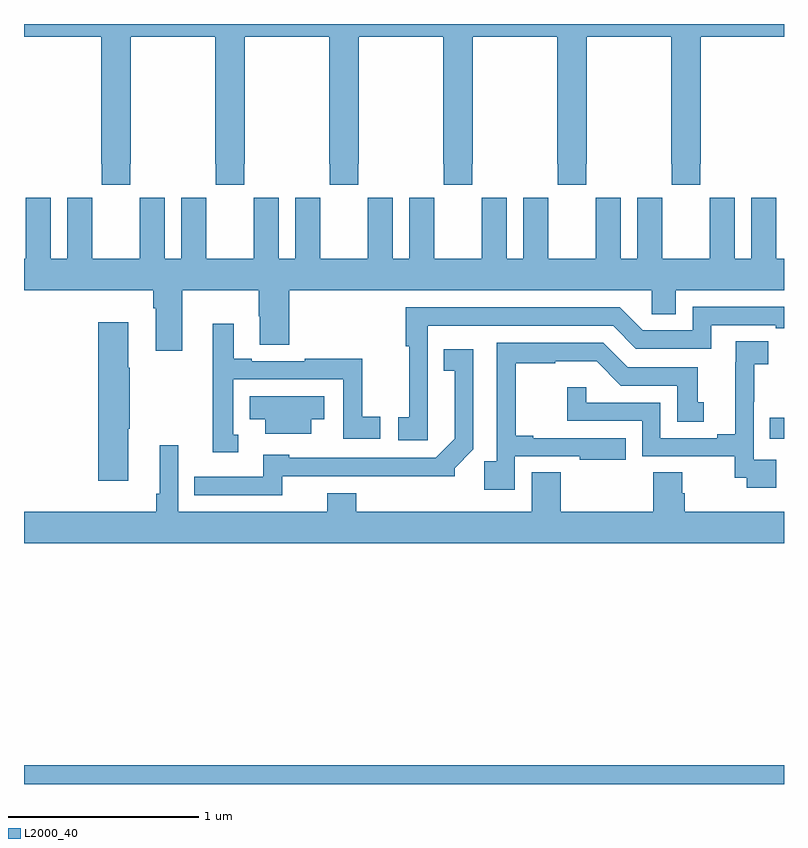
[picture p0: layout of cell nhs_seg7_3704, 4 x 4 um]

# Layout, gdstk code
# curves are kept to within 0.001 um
import gdstk
lib = gdstk.Library(unit=1e-6, precision=1e-09)
def R(c, l, rs):  # rectangles x0, y0, x1, y1
    for r in rs: c.add(gdstk.rectangle(r[:2], r[2:], *l))
def P(c, l, *ps):  # polygons
    for p in ps: c.add(gdstk.Polygon(p, *l))
L2000_40 = (2000, 40)

nhs_seg7_3704 = lib.new_cell('nhs_seg7_3704')
R(nhs_seg7_3704, L2000_40, [(347,1014,351,1014.1), (350.926,1015.818,351,1015.927)])
P(nhs_seg7_3704, L2000_40, [(347.559,1017.265),(347.562,1017.265),(347.562,1017.932),(348.007,1017.932),(348.007,1017.265),(348.009,1017.265),(348.009,1017.153),(348.159,1017.153),(348.159,1017.265),(348.162,1017.265),(348.162,1017.932),(348.607,1017.932),(348.607,1017.265),(348.609,1017.265),(348.609,1017.153),(348.759,1017.153),(348.759,1017.265),(348.762,1017.265),(348.762,1017.932),(349.207,1017.932),(349.207,1017.265),(349.209,1017.265),(349.209,1017.153),(349.359,1017.153),(349.359,1017.265),(349.362,1017.265),(349.362,1017.932),(349.807,1017.932),(349.807,1017.265),(349.809,1017.265),(349.809,1017.153),(349.959,1017.153),(349.959,1017.265),(349.962,1017.265),(349.962,1017.932),(350.407,1017.932),(350.407,1017.265),(350.409,1017.265),(350.409,1017.153),(350.559,1017.153),(350.559,1017.265),(350.562,1017.265),(350.562,1017.932),(351,1017.932),(351,1018),(347,1018),(347,1017.932),(347.407,1017.932),(347.407,1017.265),(347.409,1017.265),(347.409,1017.153),(347.559,1017.153)],
  [(348.235,1016.462),(348.242,1016.462),(348.242,1016.311),(348.395,1016.311),(348.395,1016.6),(350.304,1016.6),(350.304,1016.473),(350.431,1016.473),(350.431,1016.6),(351,1016.6),(351,1016.764),(350.959,1016.764),(350.959,1016.972),(350.958,1016.972),(350.958,1017.085),(350.828,1017.085),(350.828,1016.764),(350.74,1016.764),(350.74,1017.085),(350.61,1017.085),(350.61,1016.972),(350.609,1016.972),(350.609,1016.764),(350.359,1016.764),(350.359,1016.972),(350.358,1016.972),(350.358,1017.085),(350.228,1017.085),(350.228,1016.764),(350.14,1016.764),(350.14,1017.085),(350.01,1017.085),(350.01,1016.972),(350.009,1016.972),(350.009,1016.764),(349.759,1016.764),(349.759,1016.972),(349.758,1016.972),(349.758,1017.085),(349.628,1017.085),(349.628,1016.764),(349.54,1016.764),(349.54,1017.085),(349.41,1017.085),(349.41,1016.972),(349.409,1016.972),(349.409,1016.764),(349.159,1016.764),(349.159,1016.972),(349.158,1016.972),(349.158,1017.085),(349.028,1017.085),(349.028,1016.764),(348.94,1016.764),(348.94,1017.085),(348.81,1017.085),(348.81,1016.972),(348.809,1016.972),(348.809,1016.764),(348.559,1016.764),(348.559,1016.972),(348.558,1016.972),(348.558,1017.085),(348.428,1017.085),(348.428,1016.764),(348.34,1016.764),(348.34,1017.085),(348.21,1017.085),(348.21,1016.972),(348.209,1016.972),(348.209,1016.764),(347.959,1016.764),(347.959,1016.972),(347.958,1016.972),(347.958,1017.085),(347.828,1017.085),(347.828,1016.764),(347.74,1016.764),(347.74,1017.085),(347.61,1017.085),(347.61,1016.972),(347.609,1016.972),(347.609,1016.764),(347.359,1016.764),(347.359,1016.972),(347.358,1016.972),(347.358,1017.085),(347.228,1017.085),(347.228,1016.764),(347.14,1016.764),(347.14,1017.085),(347.01,1017.085),(347.01,1016.972),(347.009,1016.972),(347.009,1016.764),(347,1016.764),(347,1016.6),(347.681,1016.6),(347.681,1016.504),(347.693,1016.504),(347.693,1016.28),(347.833,1016.28),(347.833,1016.6),(348.235,1016.6)],
  [(349.126,1016.084),(349.125,1016.412),(350.1,1016.412),(350.22,1016.292),(350.616,1016.292),(350.616,1016.415),(350.957,1016.415),(350.957,1016.4),(351,1016.4),(351,1016.511),(350.52,1016.511),(350.52,1016.388),(350.256,1016.388),(350.136,1016.508),(349.009,1016.508),(349.009,1016.305),(349.027,1016.305),(349.027,1015.929),(348.969,1015.929),(348.969,1015.809),(349.126,1015.809)],
  [(347.548,1015.87),(347.556,1015.87),(347.556,1016.192),(347.548,1016.192),(347.548,1016.431),(347.39,1016.431),(347.39,1015.596),(347.548,1015.596)],
  [(348.127,1015.839),(348.102,1015.839),(348.102,1016.13),(348.681,1016.13),(348.681,1015.818),(348.874,1015.818),(348.874,1015.934),(348.78,1015.934),(348.78,1016.239),(348.478,1016.239),(348.478,1016.226),(348.199,1016.226),(348.199,1016.239),(348.103,1016.239),(348.103,1016.422),(347.993,1016.422),(347.993,1016.177),(347.994,1016.177),(347.994,1015.745),(348.127,1015.745)],
  [(350.959,1015.707),(350.841,1015.707),(350.841,1016.011),(350.843,1016.011),(350.843,1016.209),(350.917,1016.209),(350.917,1016.33),(350.746,1016.33),(350.746,1016.219),(350.744,1016.219),(350.744,1015.841),(350.648,1015.841),(350.648,1015.821),(350.349,1015.821),(350.349,1016.007),(349.959,1016.007),(349.959,1016.089),(349.858,1016.089),(349.858,1015.911),(350.253,1015.911),(350.253,1015.725),(350.74,1015.725),(350.74,1015.611),(350.803,1015.611),(350.803,1015.56),(350.959,1015.56)],
  [(349.584,1015.725),(349.925,1015.725),(349.925,1015.706),(350.168,1015.706),(350.168,1015.821),(349.681,1015.821),(349.681,1015.834),(349.589,1015.834),(349.589,1016.214),(349.796,1016.214),(349.796,1016.225),(350.014,1016.225),(350.142,1016.097),(350.438,1016.097),(350.438,1015.906),(350.578,1015.906),(350.578,1016.01),(350.545,1016.01),(350.545,1016.193),(350.178,1016.193),(350.049,1016.322),(349.488,1016.322),(349.488,1015.699),(349.423,1015.699),(349.423,1015.548),(349.584,1015.548)],
  [(348.36,1015.62),(349.266,1015.619),(349.266,1015.663),(349.365,1015.762),(349.365,1016.287),(349.21,1016.287),(349.21,1016.174),(349.268,1016.174),(349.268,1015.817),(349.167,1015.716),(348.396,1015.716),(348.396,1015.732),(348.26,1015.732),(348.26,1015.617),(347.896,1015.617),(347.896,1015.521),(348.36,1015.521)],
  [(348.511,1015.919),(348.58,1015.919),(348.58,1016.041),(348.187,1016.041),(348.187,1015.919),(348.269,1015.919),(348.269,1015.844),(348.511,1015.844)],
  [(351,1015.432),(350.477,1015.432),(350.477,1015.53),(350.464,1015.53),(350.464,1015.64),(350.312,1015.64),(350.312,1015.432),(349.826,1015.432),(349.826,1015.64),(349.673,1015.64),(349.673,1015.432),(348.749,1015.432),(348.749,1015.531),(348.596,1015.531),(348.596,1015.432),(347.811,1015.432),(347.811,1015.783),(347.714,1015.783),(347.714,1015.528),(347.695,1015.528),(347.695,1015.432),(347,1015.432),(347,1015.268),(351,1015.268)])

lib.write_gds('nhs_seg7_3704.gds')
